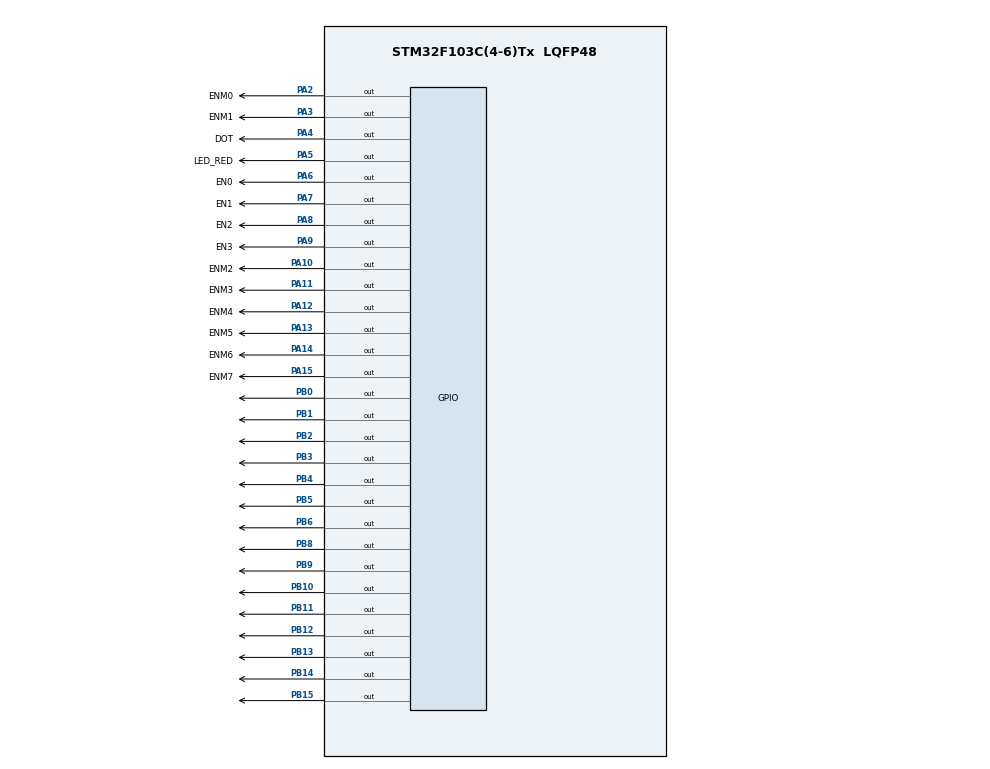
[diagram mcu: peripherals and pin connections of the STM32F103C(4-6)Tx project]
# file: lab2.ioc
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Mcu.Family=STM32F1
Mcu.Name=STM32F103C(4-6)Tx
Mcu.Package=LQFP48
NVIC.PriorityGroup=NVIC_PRIORITYGROUP_4
NVIC.TIM2_IRQn=true\:0\:0\:false\:false\:true\:true\:true
PA10.GPIO_Label=ENM2
PA10.Signal=GPIO_Output
PA11.GPIO_Label=ENM3
PA11.Signal=GPIO_Output
PA12.GPIO_Label=ENM4
PA12.Signal=GPIO_Output
PA13.GPIO_Label=ENM5
PA13.Signal=GPIO_Output
PA14.GPIO_Label=ENM6
PA14.Signal=GPIO_Output
PA15.GPIO_Label=ENM7
PA15.Signal=GPIO_Output
PA2.GPIO_Label=ENM0
PA2.Signal=GPIO_Output
PA3.GPIO_Label=ENM1
PA3.Signal=GPIO_Output
PA4.GPIO_Label=DOT
PA4.Signal=GPIO_Output
PA5.GPIO_Label=LED_RED
PA5.Signal=GPIO_Output
PA6.GPIO_Label=EN0
PA6.Signal=GPIO_Output
PA7.GPIO_Label=EN1
PA7.Signal=GPIO_Output
PA8.GPIO_Label=EN2
PA8.Signal=GPIO_Output
PA9.GPIO_Label=EN3
PA9.Signal=GPIO_Output
PB0.Signal=GPIO_Output
PB1.Signal=GPIO_Output
PB10.Signal=GPIO_Output
PB11.Signal=GPIO_Output
PB12.Signal=GPIO_Output
PB13.Signal=GPIO_Output
PB14.Signal=GPIO_Output
PB15.Signal=GPIO_Output
PB2.Signal=GPIO_Output
PB3.Signal=GPIO_Output
PB4.Signal=GPIO_Output
PB5.Signal=GPIO_Output
PB6.Signal=GPIO_Output
PB8.Signal=GPIO_Output
PB9.Signal=GPIO_Output
ProjectManager.HeapSize=0x200
ProjectManager.StackSize=0x400
ProjectManager.TargetToolchain=STM32CubeIDE
RCC.APB1Freq_Value=8000000
RCC.APB2Freq_Value=8000000
TIM2.Period=9
TIM2.Prescaler=7999
VP_SYS_VS_ND.Mode=No_Debug
VP_TIM2_VS_ClockSourceINT.Mode=Internal
board=custom

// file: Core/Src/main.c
/* USER CODE BEGIN Header */
/**
  ******************************************************************************
  * @file           : main.c
  * @brief          : Main program body
  ******************************************************************************
  * @attention
  *
  * <h2><center>&copy; Copyright (c) 2023 STMicroelectronics.
  * All rights reserved.</center></h2>
  *
  * This software component is licensed by ST under BSD 3-Clause license,
  * the "License"; You may not use this file except in compliance with the
  * License. You may obtain a copy of the License at:
  *                        opensource.org/licenses/BSD-3-Clause
  *
  ******************************************************************************
  */
/* USER CODE END Header */
#include "main.h"

TIM_HandleTypeDef htim2;

void SystemClock_Config(void);
static void MX_GPIO_Init(void);
static void MX_TIM2_Init(void);
/* USER CODE BEGIN PFP */
void display7SEG(int num);
void update7SEG (int index);
void updateClockBuffer();
void setTimer(int duration);
void TimerRun();
void setTimerDot(int duration);
void TimerRunDot();
void setTimerClock(int duration);
void TimerRunClock();
void TimerRunLedMatrix();
void setTimerLedMatrix(int duration);
void updateLedMatrix();
void updateMatrixBuffer();
void setTimerMatrixAnimation(int duration);
void TimerRundMatrixAnimation();
/* USER CODE END PFP */

/* USER CODE BEGIN 0 */
int time_flag = 0;
int counter = 0;
int counter_dot = 0;
int time_flag_dot = 0;
int time_flag_clock = 0;
int counter_clock = 0;

int counter_led_matrix = 0;
int time_flag_led_matrix = 0;
int counter_animation = 0;
int time_flag_animation = 0;

const int MAX_LED = 4;
int index_led = 0;
int led_buffer [4] = {1, 2, 3, 4};
int hour = 15, minute = 8, second = 50;
int TIMER_CYCLE = 1;

const int MAX_LED_MATRIX = 8;
int index_led_matrix = 0;
int animation_index = 0;
/*
 * list display column to display in bit
 * 0 => 0b11111111 => 0xFF
 * 1 => 0b00000011 => 0x03
 * 2 => 0b00000001 => 0x01
 * 3 => 0b11001100 => 0xCC
 * 4 => 0b11001100 => 0xCC
 * 5 => 0b00000001 => 0x01
 * 6 => 0b00000011 => 0x03
 * 7 => 0b11111111 => 0xFF

 */
uint8_t matrix_buffer[8] = {0xFF, 0x03, 0x01, 0xCC, 0xCC, 0x01, 0x03, 0xFF};
/* USER CODE END 0 */

int main(void)
{

  /* MCU Configuration--------------------------------------------------------*/

  /* Reset of all peripherals, Initializes the Flash interface and the Systick. */
  HAL_Init();

  /* Configure the system clock */
  SystemClock_Config();

  /* Initialize all configured peripherals */
  MX_GPIO_Init();
  MX_TIM2_Init();
  /* USER CODE BEGIN 2 */

  enum DotState {OFF = 0, ON = 1};
  enum DotState dot_status = OFF;

  HAL_TIM_Base_Start_IT(&htim2);

  setTimer(250);
  setTimerClock(1000);
  setTimerDot(500);
  setTimerLedMatrix(5);
  setTimerMatrixAnimation(500);
  /* USER CODE END 2 */

  /* Infinite loop */
  /* USER CODE BEGIN WHILE */
  while (1)
  {

      if (time_flag == 1) {
          updateClockBuffer();
          update7SEG(index_led++);
          if (index_led > 3) index_led = 0;
          setTimer(250);

      }

      if (time_flag_clock == 1){
          second++;
          if ( second >= 60) {
              second = 0;
              minute ++;
          }
          if( minute >= 60) {
                  minute = 0;
                  hour ++;
              }
              if( hour >=24){
                  hour = 0;
              }
          updateClockBuffer();
          setTimerClock(1000);
      }

      switch (dot_status){
              case OFF:
                  HAL_GPIO_WritePin(DOT_GPIO_Port, DOT_Pin, GPIO_PIN_SET);

                  if (time_flag_dot == 1){
                      setTimerDot(500);
                      dot_status = ON;
                  }
          break;

              case ON:
                  HAL_GPIO_WritePin(DOT_GPIO_Port, DOT_Pin, GPIO_PIN_RESET);

                  if (time_flag_dot == 1){
                      setTimerDot(500);
                      dot_status = OFF;
                  }
          break;
      }

      if (time_flag_led_matrix == 1){
    	  updateLedMatrix(index_led_matrix++);
    	  if (index_led_matrix > 7) index_led_matrix = 0;
    	  setTimerLedMatrix(5);
      }

      if(time_flag_animation == 1){
    	  updateMatrixBuffer();
    	  setTimerMatrixAnimation(500);
      }

      /* USER CODE END WHILE */

  }
}

void SystemClock_Config(void)
{
  RCC_OscInitTypeDef RCC_OscInitStruct = {0};
  RCC_ClkInitTypeDef RCC_ClkInitStruct = {0};

  /** Initializes the RCC Oscillators according to the specified parameters
  * in the RCC_OscInitTypeDef structure.
  */
  RCC_OscInitStruct.OscillatorType = RCC_OSCILLATORTYPE_HSI;
  RCC_OscInitStruct.HSIState = RCC_HSI_ON;
  RCC_OscInitStruct.HSICalibrationValue = RCC_HSICALIBRATION_DEFAULT;
  RCC_OscInitStruct.PLL.PLLState = RCC_PLL_NONE;
  if (HAL_RCC_OscConfig(&RCC_OscInitStruct) != HAL_OK)
  {
    Error_Handler();
  }
  /** Initializes the CPU, AHB and APB buses clocks
  */
  RCC_ClkInitStruct.ClockType = RCC_CLOCKTYPE_HCLK|RCC_CLOCKTYPE_SYSCLK
                              |RCC_CLOCKTYPE_PCLK1|RCC_CLOCKTYPE_PCLK2;
  RCC_ClkInitStruct.SYSCLKSource = RCC_SYSCLKSOURCE_HSI;
  RCC_ClkInitStruct.AHBCLKDivider = RCC_SYSCLK_DIV1;
  RCC_ClkInitStruct.APB1CLKDivider = RCC_HCLK_DIV1;
  RCC_ClkInitStruct.APB2CLKDivider = RCC_HCLK_DIV1;

  if (HAL_RCC_ClockConfig(&RCC_ClkInitStruct, FLASH_LATENCY_0) != HAL_OK)
  {
    Error_Handler();
  }
}

static void MX_TIM2_Init(void)
{

  TIM_ClockConfigTypeDef sClockSourceConfig = {0};
  TIM_MasterConfigTypeDef sMasterConfig = {0};

  htim2.Instance = TIM2;
  htim2.Init.Prescaler = 799;
  htim2.Init.CounterMode = TIM_COUNTERMODE_UP;
  htim2.Init.Period = 9;
  htim2.Init.ClockDivision = TIM_CLOCKDIVISION_DIV1;
  htim2.Init.AutoReloadPreload = TIM_AUTORELOAD_PRELOAD_DISABLE;
  if (HAL_TIM_Base_Init(&htim2) != HAL_OK)
  {
    Error_Handler();
  }
  sClockSourceConfig.ClockSource = TIM_CLOCKSOURCE_INTERNAL;
  if (HAL_TIM_ConfigClockSource(&htim2, &sClockSourceConfig) != HAL_OK)
  {
    Error_Handler();
  }
  sMasterConfig.MasterOutputTrigger = TIM_TRGO_RESET;
  sMasterConfig.MasterSlaveMode = TIM_MASTERSLAVEMODE_DISABLE;
  if (HAL_TIMEx_MasterConfigSynchronization(&htim2, &sMasterConfig) != HAL_OK)
  {
    Error_Handler();
  }

}

static void MX_GPIO_Init(void)
{
  GPIO_InitTypeDef GPIO_InitStruct = {0};

  /* GPIO Ports Clock Enable */
  __HAL_RCC_GPIOA_CLK_ENABLE();
  __HAL_RCC_GPIOB_CLK_ENABLE();

  /*Configure GPIO pin Output Level */
  HAL_GPIO_WritePin(GPIOA, ENM0_Pin|ENM1_Pin|DOT_Pin|LED_RED_Pin
                          |EN0_Pin|EN1_Pin|EN2_Pin|EN3_Pin
                          |ENM2_Pin|ENM3_Pin|ENM4_Pin|ENM5_Pin
                          |ENM6_Pin|ENM7_Pin, GPIO_PIN_RESET);

  /*Configure GPIO pin Output Level */
  HAL_GPIO_WritePin(GPIOB, GPIO_PIN_0|GPIO_PIN_1|GPIO_PIN_2|GPIO_PIN_10
                          |GPIO_PIN_11|GPIO_PIN_12|GPIO_PIN_13|GPIO_PIN_14
                          |GPIO_PIN_15|GPIO_PIN_3|GPIO_PIN_4|GPIO_PIN_5
                          |GPIO_PIN_6|GPIO_PIN_8|GPIO_PIN_9, GPIO_PIN_RESET);

  /*Configure GPIO pins : ENM0_Pin ENM1_Pin DOT_Pin LED_RED_Pin
                           EN0_Pin EN1_Pin EN2_Pin EN3_Pin
                           ENM2_Pin ENM3_Pin ENM4_Pin ENM5_Pin
                           ENM6_Pin ENM7_Pin */
  GPIO_InitStruct.Pin = ENM0_Pin|ENM1_Pin|DOT_Pin|LED_RED_Pin
                          |EN0_Pin|EN1_Pin|EN2_Pin|EN3_Pin
                          |ENM2_Pin|ENM3_Pin|ENM4_Pin|ENM5_Pin
                          |ENM6_Pin|ENM7_Pin;
  GPIO_InitStruct.Mode = GPIO_MODE_OUTPUT_PP;
  GPIO_InitStruct.Pull = GPIO_NOPULL;
  GPIO_InitStruct.Speed = GPIO_SPEED_FREQ_LOW;
  HAL_GPIO_Init(GPIOA, &GPIO_InitStruct);

  /*Configure GPIO pins : PB0 PB1 PB2 PB10
                           PB11 PB12 PB13 PB14
                           PB15 PB3 PB4 PB5
                           PB6 PB8 PB9 */
  GPIO_InitStruct.Pin = GPIO_PIN_0|GPIO_PIN_1|GPIO_PIN_2|GPIO_PIN_10
                          |GPIO_PIN_11|GPIO_PIN_12|GPIO_PIN_13|GPIO_PIN_14
                          |GPIO_PIN_15|GPIO_PIN_3|GPIO_PIN_4|GPIO_PIN_5
                          |GPIO_PIN_6|GPIO_PIN_8|GPIO_PIN_9;
  GPIO_InitStruct.Mode = GPIO_MODE_OUTPUT_PP;
  GPIO_InitStruct.Pull = GPIO_NOPULL;
  GPIO_InitStruct.Speed = GPIO_SPEED_FREQ_LOW;
  HAL_GPIO_Init(GPIOB, &GPIO_InitStruct);

}

/* USER CODE BEGIN 4 */
void HAL_TIM_PeriodElapsedCallback ( TIM_HandleTypeDef * htim ){
	TimerRun();
	TimerRunDot();
	TimerRunClock();
	TimerRunLedMatrix();
}

void update7SEG (int index){
	switch (index){
		case 0:
		// Display the first 7 SEG with led_buffer [0]
		  HAL_GPIO_WritePin(EN0_GPIO_Port, EN0_Pin, GPIO_PIN_RESET);
		  HAL_GPIO_WritePin(EN1_GPIO_Port, EN1_Pin, GPIO_PIN_SET);
		  HAL_GPIO_WritePin(EN2_GPIO_Port, EN2_Pin, GPIO_PIN_SET);
		  HAL_GPIO_WritePin(EN3_GPIO_Port, EN3_Pin, GPIO_PIN_SET);
		  display7SEG(led_buffer[0]);
			break ;
		case 1:
		// Display the second 7 SEG with led_buffer [1]
		  HAL_GPIO_WritePin(EN0_GPIO_Port, EN0_Pin, GPIO_PIN_SET);
		  HAL_GPIO_WritePin(EN1_GPIO_Port, EN1_Pin, GPIO_PIN_RESET);
		  HAL_GPIO_WritePin(EN2_GPIO_Port, EN2_Pin, GPIO_PIN_SET);
		  HAL_GPIO_WritePin(EN3_GPIO_Port, EN3_Pin, GPIO_PIN_SET);
		  display7SEG(led_buffer[1]);

			break ;
		case 2:
		// Display the third 7 SEG with led_buffer [2]
		  HAL_GPIO_WritePin(EN0_GPIO_Port, EN0_Pin, GPIO_PIN_SET);
		  HAL_GPIO_WritePin(EN1_GPIO_Port, EN1_Pin, GPIO_PIN_SET);
		  HAL_GPIO_WritePin(EN2_GPIO_Port, EN2_Pin, GPIO_PIN_RESET);
		  HAL_GPIO_WritePin(EN3_GPIO_Port, EN3_Pin, GPIO_PIN_SET);
		  display7SEG(led_buffer[2]);
			break ;
		case 3:
		 // Display the forth 7 SEG with led_buffer [3]
		  HAL_GPIO_WritePin(EN0_GPIO_Port, EN0_Pin, GPIO_PIN_SET);
		  HAL_GPIO_WritePin(EN1_GPIO_Port, EN1_Pin, GPIO_PIN_SET);
		  HAL_GPIO_WritePin(EN2_GPIO_Port, EN2_Pin, GPIO_PIN_SET);
		  HAL_GPIO_WritePin(EN3_GPIO_Port, EN3_Pin, GPIO_PIN_RESET);
		  display7SEG(led_buffer[3]);
			break ;
		default :
			break ;
	}
}

void display7SEG(int num){
	/*
	 * list display number to display in bit
	 * 0 => 0b1000000 => 0x40
	 * 1 => 0b1111001 => 0x79
	 * 2 => 0b0100100 => 0x24
	 * 3 => 0b0110000 => 0x30
	 * 4 => 0b0011001 => 0x19
	 * 5 => 0b0010010 => 0x12
	 * 6 => 0b0000010 => 0x02
	 * 7 => 0b1111000 => 0x78
	 * 8 => 0b0000000 => 0x00
	 * 9 => 0b0010000 => 0x10
	 */
	int number_in_bit[10] ={0x40, 0x79, 0x24, 0x30, 0x19, 0x12, 0x02, 0x78, 0x00, 0x10};
	uint16_t lower_pin = GPIO_PIN_0 | GPIO_PIN_1 | GPIO_PIN_2 | GPIO_PIN_3 | GPIO_PIN_4 | GPIO_PIN_5 | GPIO_PIN_6 | GPIO_PIN_7;
	uint16_t lower_bit = number_in_bit[num];
	uint16_t upper_bit = GPIOB->ODR & ~(lower_pin);

	// write to ODR register to change sate all pin in port B
	GPIOB->ODR = lower_bit | upper_bit;
}

void updateClockBuffer(){
//	led_buffer [4] = {1, 2, 3, 4};
	led_buffer[0] = hour / 10;
	led_buffer[1] = hour % 10;
	led_buffer[2] = minute / 10;
	led_buffer[3] = minute % 10;
}

void setTimer(int duration){
	counter = duration / TIMER_CYCLE;
	time_flag = 0;
}
void TimerRun(){
	if (counter > 0) counter--;
	if (counter <= 0) {
		time_flag = 1;
	}
}

void setTimerDot(int duration){
	counter_dot = duration / TIMER_CYCLE;
	time_flag_dot = 0;
}
void TimerRunDot(){
	if (counter_dot > 0) counter_dot--;
	if (counter_dot <= 0) {
		time_flag_dot = 1;
	}
}

void setTimerClock(int duration){
    counter_clock = duration / TIMER_CYCLE;
    time_flag_clock = 0;
}
void TimerRunClock(){
    if (counter_clock > 0) counter_clock--;
    if (counter_clock <= 0) {
        time_flag_clock = 1;
    }
}

void setTimerLedMatrix(int duration){
	counter_led_matrix = duration / TIMER_CYCLE;
	time_flag_led_matrix = 0;
}
void TimerRunLedMatrix(){
	if (counter_led_matrix > 0) counter_led_matrix--;
	if (counter_led_matrix <= 0) {
		time_flag_led_matrix = 1;
	}
}

void setTimerMatrixAnimation(int duration){
	counter_animation = duration / TIMER_CYCLE;
	time_flag_animation = 0;
}
void TimerRundMatrixAnimation(){
	if (counter_animation > 0) counter_animation--;
	if (counter_animation <= 0) {
		time_flag_animation = 1;
	}
}

void displayMatrix(int num){
	/*
	 * list display column to display in bit
	 * 0 => 0b11111111 => 0xFF
	 * 1 => 0b00000011 => 0x03
	 * 2 => 0b00000001 => 0x01
	 * 3 => 0b11001100 => 0xCC
	 * 4 => 0b11001100 => 0xCC
	 * 5 => 0b00000001 => 0x01
	 * 6 => 0b00000011 => 0x03
	 * 7 => 0b11111111 => 0xFF

	 */
	uint16_t upper_pin = GPIO_PIN_8 | GPIO_PIN_9 | GPIO_PIN_10 | GPIO_PIN_11 | GPIO_PIN_12 | GPIO_PIN_13 | GPIO_PIN_14 | GPIO_PIN_15;
	uint16_t upper_bit = matrix_buffer[num] << 8;
	uint16_t lower_bit = GPIOB->ODR & ~(upper_pin);

	// write to ODR register to change sate all pin in port B
	GPIOB->ODR = lower_bit | upper_bit;
}

void updateLedMatrix(int index){
	//uint8_t matrix_buffer[8] = {0x01 , 0x02 , 0x03 , 0x04 , 0x05 , 0x06 , 0x07 , 0x08};

	switch (index) {
		case 0:
		// Display the first 7 SEG with led_buffer [0]
		  HAL_GPIO_WritePin(ENM0_GPIO_Port, ENM0_Pin, GPIO_PIN_RESET);
		  HAL_GPIO_WritePin(ENM1_GPIO_Port, ENM1_Pin, GPIO_PIN_SET);
		  HAL_GPIO_WritePin(ENM2_GPIO_Port, ENM2_Pin, GPIO_PIN_SET);
		  HAL_GPIO_WritePin(ENM3_GPIO_Port, ENM3_Pin, GPIO_PIN_SET);
		  HAL_GPIO_WritePin(ENM4_GPIO_Port, ENM4_Pin, GPIO_PIN_SET);
		  HAL_GPIO_WritePin(ENM5_GPIO_Port, ENM5_Pin, GPIO_PIN_SET);
		  HAL_GPIO_WritePin(ENM6_GPIO_Port, ENM6_Pin, GPIO_PIN_SET);
		  HAL_GPIO_WritePin(ENM7_GPIO_Port, ENM7_Pin, GPIO_PIN_SET);
		  displayMatrix(0);
		break ;
		case 1:
		// Display the first 7 SEG with led_buffer [0]
		  HAL_GPIO_WritePin(ENM0_GPIO_Port, ENM0_Pin, GPIO_PIN_SET);
		  HAL_GPIO_WritePin(ENM1_GPIO_Port, ENM1_Pin, GPIO_PIN_RESET);
		  HAL_GPIO_WritePin(ENM2_GPIO_Port, ENM2_Pin, GPIO_PIN_SET);
		  HAL_GPIO_WritePin(ENM3_GPIO_Port, ENM3_Pin, GPIO_PIN_SET);
		  HAL_GPIO_WritePin(ENM4_GPIO_Port, ENM4_Pin, GPIO_PIN_SET);
		  HAL_GPIO_WritePin(ENM5_GPIO_Port, ENM5_Pin, GPIO_PIN_SET);
		  HAL_GPIO_WritePin(ENM6_GPIO_Port, ENM6_Pin, GPIO_PIN_SET);
		  HAL_GPIO_WritePin(ENM7_GPIO_Port, ENM7_Pin, GPIO_PIN_SET);
		  displayMatrix(1);
		break ;
		case 2:
		// Display the first 7 SEG with led_buffer [0]
		  HAL_GPIO_WritePin(ENM0_GPIO_Port, ENM0_Pin, GPIO_PIN_SET);
		  HAL_GPIO_WritePin(ENM1_GPIO_Port, ENM1_Pin, GPIO_PIN_SET);
		  HAL_GPIO_WritePin(ENM2_GPIO_Port, ENM2_Pin, GPIO_PIN_RESET);
		  HAL_GPIO_WritePin(ENM3_GPIO_Port, ENM3_Pin, GPIO_PIN_SET);
		  HAL_GPIO_WritePin(ENM4_GPIO_Port, ENM4_Pin, GPIO_PIN_SET);
		  HAL_GPIO_WritePin(ENM5_GPIO_Port, ENM5_Pin, GPIO_PIN_SET);
		  HAL_GPIO_WritePin(ENM6_GPIO_Port, ENM6_Pin, GPIO_PIN_SET);
		  HAL_GPIO_WritePin(ENM7_GPIO_Port, ENM7_Pin, GPIO_PIN_SET);
		  displayMatrix(2);
		break ;
		case 3:
		// Display the first 7 SEG with led_buffer [0]
		  HAL_GPIO_WritePin(ENM0_GPIO_Port, ENM0_Pin, GPIO_PIN_SET);
		  HAL_GPIO_WritePin(ENM1_GPIO_Port, ENM1_Pin, GPIO_PIN_SET);
		  HAL_GPIO_WritePin(ENM2_GPIO_Port, ENM2_Pin, GPIO_PIN_SET);
		  HAL_GPIO_WritePin(ENM3_GPIO_Port, ENM3_Pin, GPIO_PIN_RESET);
		  HAL_GPIO_WritePin(ENM4_GPIO_Port, ENM4_Pin, GPIO_PIN_SET);
		  HAL_GPIO_WritePin(ENM5_GPIO_Port, ENM5_Pin, GPIO_PIN_SET);
		  HAL_GPIO_WritePin(ENM6_GPIO_Port, ENM6_Pin, GPIO_PIN_SET);
		  HAL_GPIO_WritePin(ENM7_GPIO_Port, ENM7_Pin, GPIO_PIN_SET);
		  displayMatrix(3);
		break ;
		case 4:
		// Display the first 7 SEG with led_buffer [0]
		  HAL_GPIO_WritePin(ENM0_GPIO_Port, ENM0_Pin, GPIO_PIN_SET);
		  HAL_GPIO_WritePin(ENM1_GPIO_Port, ENM1_Pin, GPIO_PIN_SET);
		  HAL_GPIO_WritePin(ENM2_GPIO_Port, ENM2_Pin, GPIO_PIN_SET);
		  HAL_GPIO_WritePin(ENM3_GPIO_Port, ENM3_Pin, GPIO_PIN_SET);
		  HAL_GPIO_WritePin(ENM4_GPIO_Port, ENM4_Pin, GPIO_PIN_RESET);
		  HAL_GPIO_WritePin(ENM5_GPIO_Port, ENM5_Pin, GPIO_PIN_SET);
		  HAL_GPIO_WritePin(ENM6_GPIO_Port, ENM6_Pin, GPIO_PIN_SET);
		  HAL_GPIO_WritePin(ENM7_GPIO_Port, ENM7_Pin, GPIO_PIN_SET);
		  displayMatrix(4);
		break ;
		case 5:
		// Display the first 7 SEG with led_buffer [0]
		  HAL_GPIO_WritePin(ENM0_GPIO_Port, ENM0_Pin, GPIO_PIN_SET);
		  HAL_GPIO_WritePin(ENM1_GPIO_Port, ENM1_Pin, GPIO_PIN_SET);
		  HAL_GPIO_WritePin(ENM2_GPIO_Port, ENM2_Pin, GPIO_PIN_SET);
		  HAL_GPIO_WritePin(ENM3_GPIO_Port, ENM3_Pin, GPIO_PIN_SET);
		  HAL_GPIO_WritePin(ENM4_GPIO_Port, ENM4_Pin, GPIO_PIN_SET);
		  HAL_GPIO_WritePin(ENM5_GPIO_Port, ENM5_Pin, GPIO_PIN_RESET);
		  HAL_GPIO_WritePin(ENM6_GPIO_Port, ENM6_Pin, GPIO_PIN_SET);
		  HAL_GPIO_WritePin(ENM7_GPIO_Port, ENM7_Pin, GPIO_PIN_SET);
		  displayMatrix(5);
		break ;
		case 6:
		// Display the first 7 SEG with led_buffer [0]
		  HAL_GPIO_WritePin(ENM0_GPIO_Port, ENM0_Pin, GPIO_PIN_SET);
		  HAL_GPIO_WritePin(ENM1_GPIO_Port, ENM1_Pin, GPIO_PIN_SET);
		  HAL_GPIO_WritePin(ENM2_GPIO_Port, ENM2_Pin, GPIO_PIN_SET);
		  HAL_GPIO_WritePin(ENM3_GPIO_Port, ENM3_Pin, GPIO_PIN_SET);
		  HAL_GPIO_WritePin(ENM4_GPIO_Port, ENM4_Pin, GPIO_PIN_SET);
		  HAL_GPIO_WritePin(ENM5_GPIO_Port, ENM5_Pin, GPIO_PIN_SET);
		  HAL_GPIO_WritePin(ENM6_GPIO_Port, ENM6_Pin, GPIO_PIN_RESET);
		  HAL_GPIO_WritePin(ENM7_GPIO_Port, ENM7_Pin, GPIO_PIN_SET);
		  displayMatrix(6);
		break ;
		case 7:
		// Display the first 7 SEG with led_buffer [0]
		  HAL_GPIO_WritePin(ENM0_GPIO_Port, ENM0_Pin, GPIO_PIN_SET);
		  HAL_GPIO_WritePin(ENM1_GPIO_Port, ENM1_Pin, GPIO_PIN_SET);
		  HAL_GPIO_WritePin(ENM2_GPIO_Port, ENM2_Pin, GPIO_PIN_SET);
		  HAL_GPIO_WritePin(ENM3_GPIO_Port, ENM3_Pin, GPIO_PIN_SET);
		  HAL_GPIO_WritePin(ENM4_GPIO_Port, ENM4_Pin, GPIO_PIN_SET);
		  HAL_GPIO_WritePin(ENM5_GPIO_Port, ENM5_Pin, GPIO_PIN_SET);
		  HAL_GPIO_WritePin(ENM6_GPIO_Port, ENM6_Pin, GPIO_PIN_SET);
		  HAL_GPIO_WritePin(ENM7_GPIO_Port, ENM7_Pin, GPIO_PIN_RESET);
		  displayMatrix(7);
		break ;
		default:
			break;
	}

}

void updateMatrixBuffer(){
		matrix_buffer[0] = matrix_buffer[1];
		matrix_buffer[1] = matrix_buffer[2];
		matrix_buffer[2] = matrix_buffer[3];
		matrix_buffer[3] = matrix_buffer[4];
		matrix_buffer[4] = matrix_buffer[5];
		matrix_buffer[5] = matrix_buffer[6];
		matrix_buffer[6] = matrix_buffer[7];
		matrix_buffer[7] = matrix_buffer[0];

}
/* USER CODE END 4 */

void Error_Handler(void)
{
  __disable_irq();
  while (1)
  {
  }
}

/************************ (C) COPYRIGHT STMicroelectronics *****END OF FILE****/
